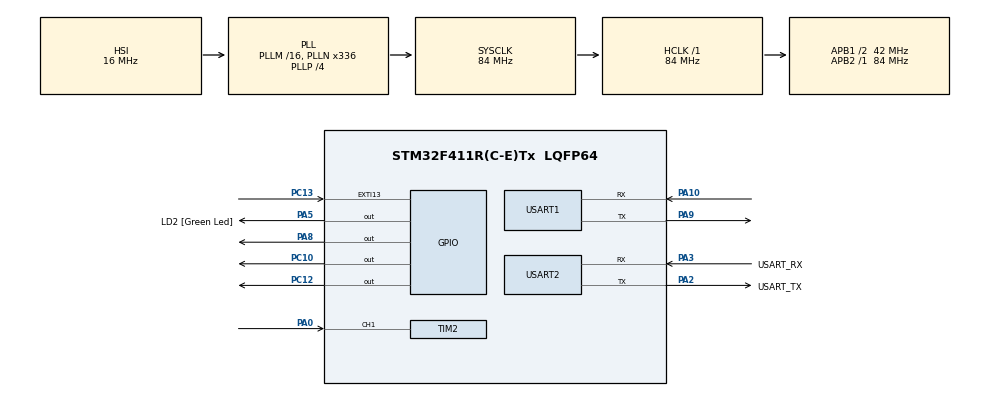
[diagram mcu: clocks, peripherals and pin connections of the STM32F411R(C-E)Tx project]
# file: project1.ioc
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Mcu.Family=STM32F4
Mcu.Name=STM32F411R(C-E)Tx
Mcu.Package=LQFP64
NVIC.PriorityGroup=NVIC_PRIORITYGROUP_0
NVIC.TIM2_IRQn=true\:0\:0\:false\:false\:true\:true\:true\:true
NVIC.USART1_IRQn=true\:0\:0\:false\:false\:true\:true\:true\:true
PA0-WKUP.Signal=S_TIM2_CH1_ETR
PA10.Mode=Asynchronous
PA10.Signal=USART1_RX
PA13.GPIO_Label=TMS
PA13.Mode=Serial_Wire
PA13.Signal=SYS_JTMS-SWDIO
PA14.GPIO_Label=TCK
PA14.Mode=Serial_Wire
PA14.Signal=SYS_JTCK-SWCLK
PA2.GPIO_Label=USART_TX
PA2.GPIO_Speed=GPIO_SPEED_FREQ_LOW
PA2.Mode=Asynchronous
PA2.Signal=USART2_TX
PA3.GPIO_Label=USART_RX
PA3.GPIO_Speed=GPIO_SPEED_FREQ_LOW
PA3.Mode=Asynchronous
PA3.Signal=USART2_RX
PA5.GPIO_Label=LD2 [Green Led]
PA5.Signal=GPIO_Output
PA8.GPIO_ModeDefaultOutputPP=GPIO_MODE_OUTPUT_PP
PA8.GPIO_PuPd=GPIO_NOPULL
PA8.Signal=GPIO_Output
PA9.Mode=Asynchronous
PA9.Signal=USART1_TX
PB3.GPIO_Label=SWO
PB3.Signal=SYS_JTDO-SWO
PC10.Signal=GPIO_Output
PC12.Signal=GPIO_Output
PC13-ANTI_TAMP.Signal=GPXTI13
PC14-OSC32_IN.Mode=LSE-External-Oscillator
PC14-OSC32_IN.Signal=RCC_OSC32_IN
PC15-OSC32_OUT.Mode=LSE-External-Oscillator
PC15-OSC32_OUT.Signal=RCC_OSC32_OUT
PH0\ -\ OSC_IN.Mode=HSE-External-Clock-Source
PH0\ -\ OSC_IN.Signal=RCC_OSC_IN
PH1\ -\ OSC_OUT.Mode=HSE-External-Clock-Source
PH1\ -\ OSC_OUT.Signal=RCC_OSC_OUT
ProjectManager.HeapSize=0x200
ProjectManager.StackSize=0x400
ProjectManager.TargetToolchain=STM32CubeIDE
RCC.48MHZClocksFreq_Value=84000000
RCC.AHBFreq_Value=84000000
RCC.APB1CLKDivider=RCC_HCLK_DIV2
RCC.APB1Freq_Value=42000000
RCC.APB1TimFreq_Value=84000000
RCC.APB2Freq_Value=84000000
RCC.APB2TimFreq_Value=84000000
RCC.CortexFreq_Value=84000000
RCC.FLatency-AdvancedSettings=FLASH_LATENCY_2
RCC.HCLKFreq_Value=84000000
RCC.HSE_VALUE=8000000
RCC.HSI_VALUE=16000000
RCC.PLLN=336
RCC.PLLP=RCC_PLLP_DIV4
RCC.SYSCLKFreq_VALUE=84000000
RCC.SYSCLKSource=RCC_SYSCLKSOURCE_PLLCLK
RCC.VCOOutputFreq_Value=336000000
SH.S_TIM2_CH1_ETR.0=TIM2_CH1,Input_Capture1_from_TI1
TIM2.Channel-Input_Capture1_from_TI1=TIM_CHANNEL_1
TIM2.ICFilter_CH1=4
TIM2.ICPolarity_CH1=TIM_INPUTCHANNELPOLARITY_BOTHEDGE
TIM2.Period=1000000-1
TIM2.Prescaler=84-1
USART1.VirtualMode=VM_ASYNC
USART2.VirtualMode=VM_ASYNC
VP_TIM2_VS_ClockSourceINT.Mode=Internal
VP_TIM4_VS_ClockSourceINT.Mode=Internal
board=NUCLEO-F411RE

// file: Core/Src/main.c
/* USER CODE BEGIN Header */
/**
  ******************************************************************************
  * @file           : main.c
  * @brief          : Main program body
  ******************************************************************************
  * @attention
  *
  * Copyright (c) 2023 STMicroelectronics.
  * All rights reserved.
  *
  * This software is licensed under terms that can be found in the LICENSE file
  * in the root directory of this software component.
  * If no LICENSE file comes with this software, it is provided AS-IS.
  *
  ******************************************************************************
  */
/* USER CODE END Header */
#include "main.h"

/* USER CODE BEGIN Includes */
#include <string.h>
#include <stdio.h>
/* USER CODE END Includes */

/* USER CODE BEGIN PTD */
#define usTIM TIM4
/* USER CODE END PTD */

TIM_HandleTypeDef htim2;
TIM_HandleTypeDef htim4;

UART_HandleTypeDef huart1;
UART_HandleTypeDef huart2;

/* USER CODE BEGIN PV */
char Rx_data[2] = {0};
/* USER CODE END PV */

void SystemClock_Config(void);
static void MX_GPIO_Init(void);
static void MX_USART2_UART_Init(void);
static void MX_TIM2_Init(void);
static void MX_USART1_UART_Init(void);
static void MX_TIM4_Init(void);
/* USER CODE BEGIN PFP */
void usDelay(uint32_t uSec);
void calculateDistance(void);
void checkState(void);
/* USER CODE END PFP */

/* USER CODE BEGIN 0 */

// Q's
extern void initialise_monitor_handles(void);
//
uint8_t icFlag = 0;
uint8_t captureIdx=0;
uint32_t edge1Time=0, edge2Time=0;
const float speedOfSound = 0.0343/2;
int detect = 0;
float diffDistance = 0.0;
float distance;
float distancePrev;
char uartBuf[100];
char state[2] = "";
char state0[2] = "00";
char state1[2] = "01";
char state2[2] = "10";
char state3[2] = "11";
void HAL_UART_RxCpltCallback(UART_HandleTypeDef *huart)
{
  HAL_UART_Receive_IT(&huart1, (uint8_t*) Rx_data, 2);
  memcpy(state,Rx_data,2);
}
/* USER CODE END 0 */

int main(void)
{

  /* MCU Configuration--------------------------------------------------------*/

  /* Reset of all peripherals, Initializes the Flash interface and the Systick. */
  HAL_Init();

  /* Configure the system clock */
  SystemClock_Config();

  /* Initialize all configured peripherals */
  MX_GPIO_Init();
  MX_USART2_UART_Init();
  MX_TIM2_Init();
  MX_USART1_UART_Init();
  MX_TIM4_Init();
  /* USER CODE BEGIN 2 */
  HAL_UART_Receive_IT(&huart1, (uint8_t*) Rx_data,sizeof(Rx_data));
  HAL_GPIO_WritePin(GPIOC, GPIO_PIN_10, GPIO_PIN_RESET);
  HAL_GPIO_WritePin(GPIOC, GPIO_PIN_12, GPIO_PIN_RESET);
  /* USER CODE END 2 */

  /* Infinite loop */
  while (1)
  {

    /* USER CODE BEGIN 3 */
	  	  	calculateDistance();
	  	  	checkState();
	  		//Print to UART terminal for debugging
	  		sprintf(uartBuf, "Distance (cm)  = %.1f\r\n", distance);
	  		HAL_UART_Transmit(&huart2, (uint8_t *)uartBuf, strlen(uartBuf), 100);

	  		//HAL_Delay(200);
  }
  /* USER CODE END 3 */
}

void SystemClock_Config(void)
{
  RCC_OscInitTypeDef RCC_OscInitStruct = {0};
  RCC_ClkInitTypeDef RCC_ClkInitStruct = {0};

  /** Configure the main internal regulator output voltage
  */
  __HAL_RCC_PWR_CLK_ENABLE();
  __HAL_PWR_VOLTAGESCALING_CONFIG(PWR_REGULATOR_VOLTAGE_SCALE1);

  /** Initializes the RCC Oscillators according to the specified parameters
  * in the RCC_OscInitTypeDef structure.
  */
  RCC_OscInitStruct.OscillatorType = RCC_OSCILLATORTYPE_HSI;
  RCC_OscInitStruct.HSIState = RCC_HSI_ON;
  RCC_OscInitStruct.HSICalibrationValue = RCC_HSICALIBRATION_DEFAULT;
  RCC_OscInitStruct.PLL.PLLState = RCC_PLL_ON;
  RCC_OscInitStruct.PLL.PLLSource = RCC_PLLSOURCE_HSI;
  RCC_OscInitStruct.PLL.PLLM = 16;
  RCC_OscInitStruct.PLL.PLLN = 336;
  RCC_OscInitStruct.PLL.PLLP = RCC_PLLP_DIV4;
  RCC_OscInitStruct.PLL.PLLQ = 4;
  if (HAL_RCC_OscConfig(&RCC_OscInitStruct) != HAL_OK)
  {
    Error_Handler();
  }

  /** Initializes the CPU, AHB and APB buses clocks
  */
  RCC_ClkInitStruct.ClockType = RCC_CLOCKTYPE_HCLK|RCC_CLOCKTYPE_SYSCLK
                              |RCC_CLOCKTYPE_PCLK1|RCC_CLOCKTYPE_PCLK2;
  RCC_ClkInitStruct.SYSCLKSource = RCC_SYSCLKSOURCE_PLLCLK;
  RCC_ClkInitStruct.AHBCLKDivider = RCC_SYSCLK_DIV1;
  RCC_ClkInitStruct.APB1CLKDivider = RCC_HCLK_DIV2;
  RCC_ClkInitStruct.APB2CLKDivider = RCC_HCLK_DIV1;

  if (HAL_RCC_ClockConfig(&RCC_ClkInitStruct, FLASH_LATENCY_2) != HAL_OK)
  {
    Error_Handler();
  }
}

static void MX_TIM2_Init(void)
{

  TIM_ClockConfigTypeDef sClockSourceConfig = {0};
  TIM_MasterConfigTypeDef sMasterConfig = {0};
  TIM_IC_InitTypeDef sConfigIC = {0};

  htim2.Instance = TIM2;
  htim2.Init.Prescaler = 84-1;
  htim2.Init.CounterMode = TIM_COUNTERMODE_UP;
  htim2.Init.Period = 1000000-1;
  htim2.Init.ClockDivision = TIM_CLOCKDIVISION_DIV1;
  htim2.Init.AutoReloadPreload = TIM_AUTORELOAD_PRELOAD_DISABLE;
  if (HAL_TIM_Base_Init(&htim2) != HAL_OK)
  {
    Error_Handler();
  }
  sClockSourceConfig.ClockSource = TIM_CLOCKSOURCE_INTERNAL;
  if (HAL_TIM_ConfigClockSource(&htim2, &sClockSourceConfig) != HAL_OK)
  {
    Error_Handler();
  }
  if (HAL_TIM_IC_Init(&htim2) != HAL_OK)
  {
    Error_Handler();
  }
  sMasterConfig.MasterOutputTrigger = TIM_TRGO_RESET;
  sMasterConfig.MasterSlaveMode = TIM_MASTERSLAVEMODE_DISABLE;
  if (HAL_TIMEx_MasterConfigSynchronization(&htim2, &sMasterConfig) != HAL_OK)
  {
    Error_Handler();
  }
  sConfigIC.ICPolarity = TIM_INPUTCHANNELPOLARITY_BOTHEDGE;
  sConfigIC.ICSelection = TIM_ICSELECTION_DIRECTTI;
  sConfigIC.ICPrescaler = TIM_ICPSC_DIV1;
  sConfigIC.ICFilter = 4;
  if (HAL_TIM_IC_ConfigChannel(&htim2, &sConfigIC, TIM_CHANNEL_1) != HAL_OK)
  {
    Error_Handler();
  }

}

static void MX_TIM4_Init(void)
{

  TIM_ClockConfigTypeDef sClockSourceConfig = {0};
  TIM_MasterConfigTypeDef sMasterConfig = {0};

  htim4.Instance = TIM4;
  htim4.Init.Prescaler = 0;
  htim4.Init.CounterMode = TIM_COUNTERMODE_UP;
  htim4.Init.Period = 65535;
  htim4.Init.ClockDivision = TIM_CLOCKDIVISION_DIV1;
  htim4.Init.AutoReloadPreload = TIM_AUTORELOAD_PRELOAD_DISABLE;
  if (HAL_TIM_Base_Init(&htim4) != HAL_OK)
  {
    Error_Handler();
  }
  sClockSourceConfig.ClockSource = TIM_CLOCKSOURCE_INTERNAL;
  if (HAL_TIM_ConfigClockSource(&htim4, &sClockSourceConfig) != HAL_OK)
  {
    Error_Handler();
  }
  sMasterConfig.MasterOutputTrigger = TIM_TRGO_RESET;
  sMasterConfig.MasterSlaveMode = TIM_MASTERSLAVEMODE_DISABLE;
  if (HAL_TIMEx_MasterConfigSynchronization(&htim4, &sMasterConfig) != HAL_OK)
  {
    Error_Handler();
  }

}

static void MX_USART1_UART_Init(void)
{

  huart1.Instance = USART1;
  huart1.Init.BaudRate = 115200;
  huart1.Init.WordLength = UART_WORDLENGTH_8B;
  huart1.Init.StopBits = UART_STOPBITS_1;
  huart1.Init.Parity = UART_PARITY_NONE;
  huart1.Init.Mode = UART_MODE_TX_RX;
  huart1.Init.HwFlowCtl = UART_HWCONTROL_NONE;
  huart1.Init.OverSampling = UART_OVERSAMPLING_16;
  if (HAL_UART_Init(&huart1) != HAL_OK)
  {
    Error_Handler();
  }

}

static void MX_USART2_UART_Init(void)
{

  huart2.Instance = USART2;
  huart2.Init.BaudRate = 115200;
  huart2.Init.WordLength = UART_WORDLENGTH_8B;
  huart2.Init.StopBits = UART_STOPBITS_1;
  huart2.Init.Parity = UART_PARITY_NONE;
  huart2.Init.Mode = UART_MODE_TX_RX;
  huart2.Init.HwFlowCtl = UART_HWCONTROL_NONE;
  huart2.Init.OverSampling = UART_OVERSAMPLING_16;
  if (HAL_UART_Init(&huart2) != HAL_OK)
  {
    Error_Handler();
  }

}

static void MX_GPIO_Init(void)
{
  GPIO_InitTypeDef GPIO_InitStruct = {0};

  /* GPIO Ports Clock Enable */
  __HAL_RCC_GPIOC_CLK_ENABLE();
  __HAL_RCC_GPIOH_CLK_ENABLE();
  __HAL_RCC_GPIOA_CLK_ENABLE();
  __HAL_RCC_GPIOB_CLK_ENABLE();

  /*Configure GPIO pin Output Level */
  HAL_GPIO_WritePin(GPIOA, LD2_Pin|GPIO_PIN_8, GPIO_PIN_RESET);

  /*Configure GPIO pin Output Level */
  HAL_GPIO_WritePin(GPIOC, GPIO_PIN_10|GPIO_PIN_12, GPIO_PIN_RESET);

  /*Configure GPIO pin : PC13 */
  GPIO_InitStruct.Pin = GPIO_PIN_13;
  GPIO_InitStruct.Mode = GPIO_MODE_IT_RISING;
  GPIO_InitStruct.Pull = GPIO_NOPULL;
  HAL_GPIO_Init(GPIOC, &GPIO_InitStruct);

  /*Configure GPIO pins : LD2_Pin PA8 */
  GPIO_InitStruct.Pin = LD2_Pin|GPIO_PIN_8;
  GPIO_InitStruct.Mode = GPIO_MODE_OUTPUT_PP;
  GPIO_InitStruct.Pull = GPIO_NOPULL;
  GPIO_InitStruct.Speed = GPIO_SPEED_FREQ_LOW;
  HAL_GPIO_Init(GPIOA, &GPIO_InitStruct);

  /*Configure GPIO pins : PC10 PC12 */
  GPIO_InitStruct.Pin = GPIO_PIN_10|GPIO_PIN_12;
  GPIO_InitStruct.Mode = GPIO_MODE_OUTPUT_PP;
  GPIO_InitStruct.Pull = GPIO_NOPULL;
  GPIO_InitStruct.Speed = GPIO_SPEED_FREQ_LOW;
  HAL_GPIO_Init(GPIOC, &GPIO_InitStruct);

}

/* USER CODE BEGIN 4 */
void usDelay(uint32_t uSec)
{
	if(uSec < 2) uSec = 2;
	usTIM->ARR = uSec - 1; 	/*sets the value in the auto-reload register*/
	usTIM->EGR = 1; 			/*Re-initialises the timer*/
	usTIM->SR &= ~1; 		//Resets the flag
	usTIM->CR1 |= 1; 		//Enables the counter
	while((usTIM->SR&0x0001) != 1);
	usTIM->SR &= ~(0x0001);
}
void HAL_TIM_IC_CaptureCallback(TIM_HandleTypeDef *htim)
{
	//win code
	//HAL_GPIO_TogglePin(GPIOA, GPIO_PIN_5);////////////////

		if(captureIdx == 0) //Fisrt edge
		{
			edge1Time = HAL_TIM_ReadCapturedValue(htim, TIM_CHANNEL_1); //__HAL_TIM_GetCounter(&htim3);//

			captureIdx = 1;
		}
		else if(captureIdx == 1) //Second edge
		{
			edge2Time = HAL_TIM_ReadCapturedValue(htim, TIM_CHANNEL_1);
			captureIdx = 0;
			icFlag = 1;
		}
}
void calculateDistance(void){
	//Set TRIG to LOW for few uSec
	HAL_GPIO_WritePin(GPIOA,GPIO_PIN_12, GPIO_PIN_RESET);
	usDelay(3);

    //*** START Ultrasonic measure routine ***//
 	//1. Output 10 usec TRIG
	HAL_GPIO_WritePin(GPIOA,GPIO_PIN_12, GPIO_PIN_SET);
  	usDelay(10);
 	HAL_GPIO_WritePin(GPIOA,GPIO_PIN_12, GPIO_PIN_RESET);
	//2. ECHO signal pulse width
	//Start IC timer
	HAL_TIM_IC_Start_IT(&htim2, TIM_CHANNEL_1);
	//Wait for IC flag
	uint32_t startTick = HAL_GetTick();
	do
	{
		if(icFlag) break;
	}while((HAL_GetTick() - startTick) < 500);  //500ms
	icFlag = 0;
	HAL_TIM_IC_Stop_IT(&htim2, TIM_CHANNEL_1);

	//Calculate distance in cm //
	if(edge2Time > edge1Time)
	{
		distance = ((edge2Time - edge1Time) + 0.0f)*speedOfSound;
	}
	diffDistance = distancePrev-distance;
	distancePrev = distance;
	// Q's code

	if (diffDistance > 5){
		HAL_GPIO_TogglePin(GPIOA,GPIO_PIN_5);
		//HAL_GPIO_TogglePin(GPIOC, GPIO_PIN_10);
				//HAL_GPIO_TogglePin(GPIOA,GPIO_PIN_5);//
		//HAL_GPIO_TogglePin(GPIOC, GPIO_PIN_12);
		HAL_Delay(200);
	}
	///////
}
void checkState(void){
	if(strcmp(state,state0) == 0){
		HAL_GPIO_WritePin(GPIOC, GPIO_PIN_10,RESET);
		//HAL_GPIO_TogglePin(GPIOA,GPIO_PIN_5);//
		HAL_GPIO_WritePin(GPIOC, GPIO_PIN_12, RESET);

	}
	else if(strcmp(state,state1) == 0){

		HAL_GPIO_WritePin(GPIOC, GPIO_PIN_10,RESET);
		//HAL_GPIO_TogglePin(GPIOA,GPIO_PIN_5);//

		HAL_GPIO_WritePin(GPIOC, GPIO_PIN_12, RESET);
	}
	else if(strcmp(state,state2)==0){
		if(detect){
			HAL_GPIO_WritePin(GPIOC, GPIO_PIN_10,SET);
			//HAL_GPIO_TogglePin(GPIOA,GPIO_PIN_5);//

			HAL_GPIO_WritePin(GPIOC, GPIO_PIN_12,SET);
			HAL_Delay(1000);
		}
		else{
			HAL_GPIO_WritePin(GPIOC, GPIO_PIN_10,RESET);
			//HAL_GPIO_TogglePin(GPIOA,GPIO_PIN_5);//

			HAL_GPIO_WritePin(GPIOC, GPIO_PIN_12,RESET);
		}
		if(diffDistance > 20){
			detect = 1;
			HAL_GPIO_WritePin(GPIOC, GPIO_PIN_10,SET);
			//HAL_GPIO_TogglePin(GPIOA,GPIO_PIN_5);//

			HAL_GPIO_WritePin(GPIOC, GPIO_PIN_12,SET);
		}else if(diffDistance < -20){
			detect = 0;
		}
	}
	else if(strcmp(state,state3) == 0){
		HAL_GPIO_WritePin(GPIOC, GPIO_PIN_10,SET);
		//HAL_GPIO_TogglePin(GPIOA,GPIO_PIN_5);//

		HAL_GPIO_WritePin(GPIOC, GPIO_PIN_12,SET);
	}
}
/* USER CODE END 4 */

void Error_Handler(void)
{
  __disable_irq();
  while (1)
  {
  }
}
